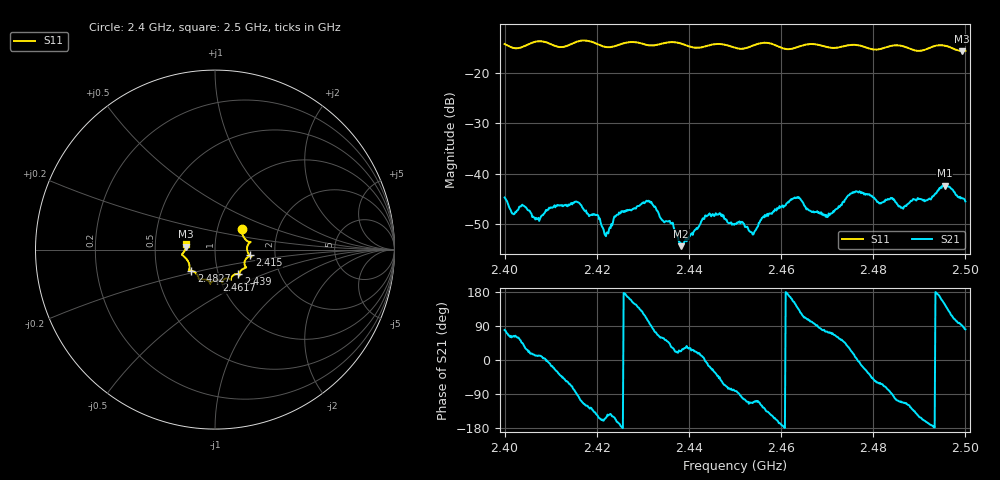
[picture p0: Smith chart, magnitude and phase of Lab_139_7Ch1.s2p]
# Hz S RI R 50
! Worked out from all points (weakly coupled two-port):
!   601 points, 2.4 GHz to 2.5 GHz, reference 50 ohm
!   highest |S21| = -42.33 dB at 2.4955 GHz (marker M1); lowest = -54.3 dB at 2.4383 GHz (marker M2)
!   lowest |S11| = -15.8 dB at 2.4992 GHz (marker M3), VSWR 1.39, Z = 36 + j1.2 ohm
!   |S11| at or under -10 dB: start of sweep to end of sweep
!   S12 and S22 are empty: the file has one direction only
!   S11 on the Smith chart (normalised r, x): 2.4 GHz: 1.32, +0.32; 2.415 GHz: 1.48, -0.10; 2.439 GHz: 1.24, -0.35; 2.4617 GHz: 0.96, -0.34; 2.4827 GHz: 0.75, -0.18; 2.5 GHz: 0.72, +0.05
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2.4e9  0.1521 0.116  0.00109 0.00574  0 0  0 0
2.407167e9  0.1988 0.0426  0.00352 0.000656  0 0  0 0
2.415e9  0.1933 -0.0322  0.00107 -0.00502  0 0  0 0
2.416667e9  0.203 -0.039  -0.00152 -0.00464  0 0  0 0
2.422e9  0.1695 -0.0558  -0.00214 -0.00114  0 0  0 0
2.430333e9  0.1574 -0.1067  -0.00245 0.0045  0 0  0 0
2.433333e9  0.1369 -0.1303  0.00175 0.00379  0 0  0 0
2.438333e9  0.1336 -0.1392  0.00177 0.000771  0 0  0 0
2.439e9  0.1295 -0.1369  0.00181 0.00111  0 0  0 0
2.444e9  0.0888 -0.1611  0.00381 -0.000592  0 0  0 0
2.45e9  0.0706 -0.1608  0.000452 -0.00318  0 0  0 0
2.454e9  0.0396 -0.181  -0.000888 -0.00236  0 0  0 0
2.461667e9  0.00841 -0.1699  -0.00515 0.000906  0 0  0 0
2.466667e9  -0.0263 -0.1895  -0.0008 0.00412  0 0  0 0
2.4705e9  -0.0423 -0.1716  0.00112 0.00373  0 0  0 0
2.476e9  -0.0887 -0.1654  0.00648 0.00108  0 0  0 0
2.482667e9  -0.1325 -0.1173  0.0018 -0.00526  0 0  0 0
2.483333e9  -0.138 -0.1168  0.00102 -0.00548  0 0  0 0
2.4865e9  -0.1439 -0.1112  -0.00173 -0.00418  0 0  0 0
2.4955e9  -0.183 -0.0248  -0.00643 0.00414  0 0  0 0
2.499167e9  -0.162 0.0163  -0.000172 0.0058  0 0  0 0
2.5e9  -0.1613 0.0314  0.000856 0.00527  0 0  0 0
